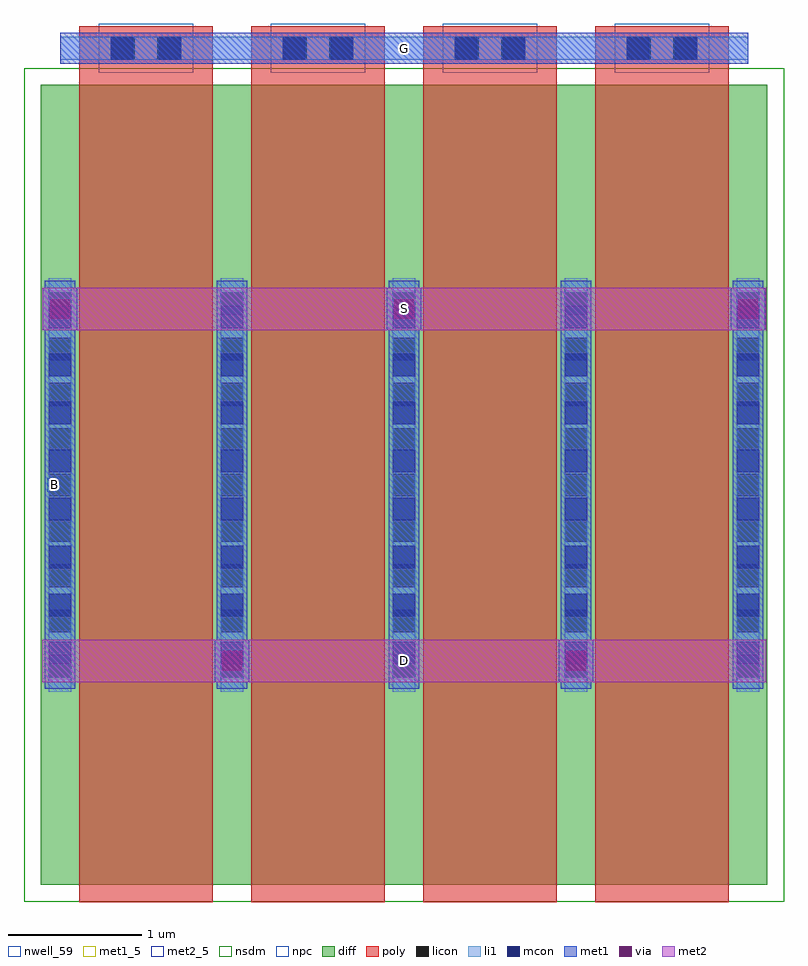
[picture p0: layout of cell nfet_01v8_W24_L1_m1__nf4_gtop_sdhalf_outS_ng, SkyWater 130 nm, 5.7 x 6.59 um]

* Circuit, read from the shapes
.subckt nfet_01v8_W24_L1_m1__nf4_gtop_sdhalf_outS_ng B D G S
XM1 D G S B sky130_fd_pr__nfet_01v8 w=6 l=1 m=4
.ends

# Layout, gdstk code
import gdstk
lib = gdstk.Library(unit=1e-6, precision=1e-09)
def R(c, l, rs):  # rectangles x0, y0, x1, y1
    for r in rs: c.add(gdstk.rectangle(r[:2], r[2:], *l))
def A(c, l, x, y, w, h, nx, ny, dx, dy):  # array of equal rectangles
    R(c, l, [(x+i*dx, y+j*dy, x+i*dx+w, y+j*dy+h) for i in range(nx) for j in range(ny)])
nwell_59 = (64, 59)
diff = (65, 20)
poly = (66, 20)
licon = (66, 44)
li1 = (67, 20)
mcon = (67, 44)
met1_5 = (68, 5)
met1 = (68, 20)
via = (68, 44)
met2_5 = (69, 5)
met2 = (69, 20)
nsdm = (93, 44)
npc = (95, 20)

sky130_fd_pr__nfet_01v8_ = lib.new_cell('sky130_fd_pr__nfet_01v8_W2HQ2E')
R(sky130_fd_pr__nfet_01v8_, diff, [(-2.725,-3.155,2.725,2.845)])
A(sky130_fd_pr__nfet_01v8_, poly, -2.435, -3.285, 1, 6.57, 4, 1, 1.29, 0)
A(sky130_fd_pr__nfet_01v8_, licon, -2.665, -1.6, 0.17, 0.17, 5, 9, 1.29, 0.34)
R(sky130_fd_pr__nfet_01v8_, licon, [(-2.19,3.035,-2.02,3.205), (-1.85,3.035,-1.68,3.205), (-0.9,3.035,-0.73,3.205), (-0.56,3.035,-0.39,3.205), (0.39,3.035,0.56,3.205), (0.73,3.035,0.9,3.205), (1.68,3.035,1.85,3.205), (2.02,3.035,2.19,3.205)])
A(sky130_fd_pr__nfet_01v8_, li1, -2.665, -1.705, 0.17, 3.1, 5, 1, 1.29, 0)
R(sky130_fd_pr__nfet_01v8_, li1, [(-2.58,3.035,2.58,3.205)])
A(sky130_fd_pr__nfet_01v8_, mcon, -2.665, -1.5, 0.17, 0.17, 5, 8, 1.29, 0.36)
R(sky130_fd_pr__nfet_01v8_, mcon, [(-2.2,3.035,-2.03,3.205), (-1.84,3.035,-1.67,3.205), (-0.91,3.035,-0.74,3.205), (-0.55,3.035,-0.38,3.205), (0.38,3.035,0.55,3.205), (0.74,3.035,0.91,3.205), (1.67,3.035,1.84,3.205), (2.03,3.035,2.2,3.205)])
A(sky130_fd_pr__nfet_01v8_, met1, -2.695, -1.685, 0.23, 3.06, 5, 1, 1.29, 0)
A(sky130_fd_pr__nfet_01v8_, met1, -2.415, 3.005, 0.96, 0.03, 4, 2, 1.29, 0.2)
R(sky130_fd_pr__nfet_01v8_, met1, [(-2.58,3.035,2.58,3.205)])
R(sky130_fd_pr__nfet_01v8_, nsdm, [(-2.85,-3.28,2.85,2.97)])
A(sky130_fd_pr__nfet_01v8_, npc, -2.29, 2.935, 0.71, 0.37, 4, 1, 1.29, 0)
sky130_fd_pr__nfet_01v8_.add(gdstk.Label('D0', (-2.58,-0.155), layer=67, texttype=5))
sky130_fd_pr__nfet_01v8_.add(gdstk.Label('G', (1.935,3.12), layer=67, texttype=5))
sky130_fd_pr__nfet_01v8_.add(gdstk.Label('G', (0.645,3.12), layer=67, texttype=5))
sky130_fd_pr__nfet_01v8_.add(gdstk.Label('G', (-0.645,3.12), layer=67, texttype=5))
sky130_fd_pr__nfet_01v8_.add(gdstk.Label('G', (-1.935,3.12), layer=67, texttype=5))
sky130_fd_pr__nfet_01v8_.add(gdstk.Label('S1', (-1.29,-0.155), layer=67, texttype=5))
sky130_fd_pr__nfet_01v8_.add(gdstk.Label('D2', (0,-0.155), layer=67, texttype=5))
sky130_fd_pr__nfet_01v8_.add(gdstk.Label('S3', (1.29,-0.155), layer=67, texttype=5))

nfet_01v8_w24_l1_m1__nf4 = lib.new_cell('nfet_01v8_W24_L1_m1__nf4_gtop_sdhalf_outS_ng')
R(nfet_01v8_w24_l1_m1__nf4, nwell_59, [(0.05,3.08,0.15,3.18)])
R(nfet_01v8_w24_l1_m1__nf4, met1_5, [(0.145,6.29,5.305,6.52)])
A(nfet_01v8_w24_l1_m1__nf4, met1, 0.015, 4.29, 0.26, 0.32, 3, 1, 2.58, 0)
R(nfet_01v8_w24_l1_m1__nf4, met1, [(1.305,1.65,1.565,1.97), (3.885,1.65,4.145,1.97), (0.145,6.29,5.305,6.52)])
A(nfet_01v8_w24_l1_m1__nf4, via, 0.07, 4.375, 0.15, 0.15, 3, 1, 2.58, 0)
R(nfet_01v8_w24_l1_m1__nf4, via, [(1.36,1.735,1.51,1.885), (3.94,1.735,4.09,1.885)])
R(nfet_01v8_w24_l1_m1__nf4, met2_5, [(0.01,1.65,5.44,1.97), (0.01,4.29,5.44,4.61)])
R(nfet_01v8_w24_l1_m1__nf4, met2, [(0.01,1.65,5.44,1.97), (0.01,4.29,5.44,4.61)])
nfet_01v8_w24_l1_m1__nf4.add(gdstk.Reference(sky130_fd_pr__nfet_01v8_, (2.725,3.285)))
nfet_01v8_w24_l1_m1__nf4.add(gdstk.Label('S', (2.725,4.45), layer=69, texttype=5))
nfet_01v8_w24_l1_m1__nf4.add(gdstk.Label('D', (2.725,1.81), layer=69, texttype=5))
nfet_01v8_w24_l1_m1__nf4.add(gdstk.Label('G', (2.725,6.405), layer=68, texttype=5))
nfet_01v8_w24_l1_m1__nf4.add(gdstk.Label('B', (0.1,3.13), layer=64, texttype=59))

lib.write_gds('nfet_01v8_W24_L1_m1__nf4_gtop_sdhalf_outS_ng.gds')
